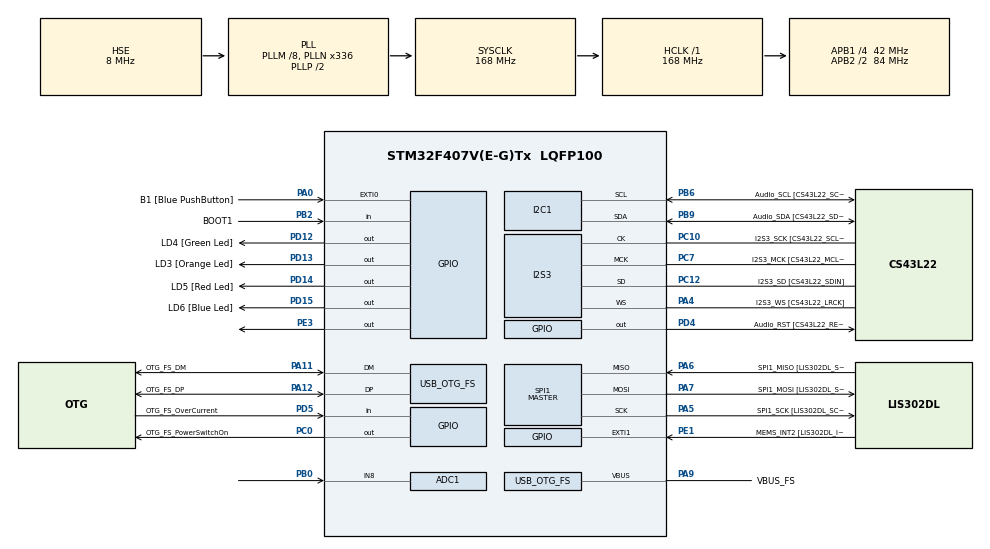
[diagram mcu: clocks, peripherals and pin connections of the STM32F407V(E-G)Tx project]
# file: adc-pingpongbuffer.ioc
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ADC1.Channel-0\#ChannelRegularConversion=ADC_CHANNEL_8
ADC1.Channel-1\#ChannelRegularConversion=ADC_CHANNEL_8
ADC1.DMAContinuousRequests=ENABLE
ADC1.EOCSelection=ADC_EOC_SEQ_CONV
ADC1.ExternalTrigConv=ADC_EXTERNALTRIGCONV_T3_TRGO
ADC1.NbrOfConversion=2
ADC1.NbrOfConversionFlag=1
ADC1.Rank-0\#ChannelRegularConversion=1
ADC1.Rank-1\#ChannelRegularConversion=2
ADC1.SamplingTime-0\#ChannelRegularConversion=ADC_SAMPLETIME_84CYCLES
ADC1.SamplingTime-1\#ChannelRegularConversion=ADC_SAMPLETIME_84CYCLES
ADC1.ScanConvMode=ENABLE
ADC1.master=1
Dma.ADC1.0.Direction=DMA_PERIPH_TO_MEMORY
Dma.ADC1.0.FIFOMode=DMA_FIFOMODE_DISABLE
Dma.ADC1.0.Instance=DMA2_Stream0
Dma.ADC1.0.MemDataAlignment=DMA_MDATAALIGN_HALFWORD
Dma.ADC1.0.MemInc=DMA_MINC_ENABLE
Dma.ADC1.0.Mode=DMA_CIRCULAR
Dma.ADC1.0.PeriphDataAlignment=DMA_PDATAALIGN_HALFWORD
Dma.ADC1.0.PeriphInc=DMA_PINC_DISABLE
Dma.ADC1.0.Priority=DMA_PRIORITY_HIGH
Dma.Request0=ADC1
I2S3.AudioFreq-Half_Duplex_Master=I2S_AUDIOFREQ_96K
I2S3.ErrorAudioFreq=-2.34 %
I2S3.ErrorAudioFreq-Half_Duplex_Master=0.8 %
I2S3.FullDuplexMode=I2S_FULLDUPLEXMODE_DISABLE
I2S3.Instance=SPI$Index
I2S3.RealAudioFreq=93.75 KHz
I2S3.RealAudioFreq-Half_Duplex_Master=96.774 KHz
I2S3.VirtualMode=I2S_MODE_MASTER
Mcu.Family=STM32F4
Mcu.Name=STM32F407V(E-G)Tx
Mcu.Package=LQFP100
NVIC.DMA2_Stream0_IRQn=true\:0\:0\:false\:false\:true\:false\:true\:true
NVIC.OTG_FS_IRQn=true\:0\:0\:false\:false\:true\:true\:true\:true
NVIC.PriorityGroup=NVIC_PRIORITYGROUP_0
PA0-WKUP.GPIO_Label=B1 [Blue PushButton]
PA0-WKUP.GPIO_ModeDefaultEXTI=GPIO_MODE_EVT_RISING
PA0-WKUP.GPIO_PuPd=GPIO_NOPULL
PA0-WKUP.Signal=GPXTI0
PA10.GPIO_Label=OTG_FS_ID
PA10.GPIO_Mode=GPIO_MODE_AF_PP
PA10.GPIO_PuPd=GPIO_NOPULL
PA10.GPIO_Speed=GPIO_SPEED_FREQ_LOW
PA10.Signal=USB_OTG_FS_ID
PA11.GPIO_Label=OTG_FS_DM
PA11.GPIO_Mode=GPIO_MODE_AF_PP
PA11.GPIO_PuPd=GPIO_NOPULL
PA11.GPIO_Speed=GPIO_SPEED_FREQ_LOW
PA11.Mode=Host_Only
PA11.Signal=USB_OTG_FS_DM
PA12.GPIO_Label=OTG_FS_DP
PA12.GPIO_Mode=GPIO_MODE_AF_PP
PA12.GPIO_PuPd=GPIO_NOPULL
PA12.GPIO_Speed=GPIO_SPEED_FREQ_LOW
PA12.Mode=Host_Only
PA12.Signal=USB_OTG_FS_DP
PA13.GPIO_Label=SWDIO
PA13.Mode=Trace_Asynchronous_SW
PA13.Signal=SYS_JTMS-SWDIO
PA14.GPIO_Label=SWCLK
PA14.Mode=Trace_Asynchronous_SW
PA14.Signal=SYS_JTCK-SWCLK
PA4.GPIO_Label=I2S3_WS [CS43L22_LRCK]
PA4.GPIO_Mode=GPIO_MODE_AF_PP
PA4.GPIO_PuPd=GPIO_NOPULL
PA4.GPIO_Speed=GPIO_SPEED_FREQ_LOW
PA4.Mode=Half_Duplex_Master
PA4.Signal=I2S3_WS
PA5.GPIO_Label=SPI1_SCK [LIS302DL_SCL/SPC]
PA5.GPIO_Mode=GPIO_MODE_AF_PP
PA5.GPIO_PuPd=GPIO_NOPULL
PA5.GPIO_Speed=GPIO_SPEED_FREQ_LOW
PA5.Mode=Full_Duplex_Master
PA5.Signal=SPI1_SCK
PA6.GPIO_Label=SPI1_MISO [LIS302DL_SDO]
PA6.GPIO_Mode=GPIO_MODE_AF_PP
PA6.GPIO_PuPd=GPIO_NOPULL
PA6.GPIO_Speed=GPIO_SPEED_FREQ_LOW
PA6.Mode=Full_Duplex_Master
PA6.Signal=SPI1_MISO
PA7.GPIO_Label=SPI1_MOSI [LIS302DL_SDA/SDI/SDO]
PA7.GPIO_Mode=GPIO_MODE_AF_PP
PA7.GPIO_PuPd=GPIO_NOPULL
PA7.GPIO_Speed=GPIO_SPEED_FREQ_LOW
PA7.Mode=Full_Duplex_Master
PA7.Signal=SPI1_MOSI
PA9.GPIO_Label=VBUS_FS
PA9.GPIO_Mode=GPIO_MODE_INPUT
PA9.GPIO_PuPd=GPIO_NOPULL
PA9.Mode=Activate_VBUS
PA9.Signal=USB_OTG_FS_VBUS
PB0.Signal=ADCx_IN8
PB10.GPIO_Label=CLK_IN [MP45DT02_CLK]
PB10.GPIO_Mode=GPIO_MODE_AF_PP
PB10.GPIO_PuPd=GPIO_NOPULL
PB10.GPIO_Speed=GPIO_SPEED_FREQ_LOW
PB10.Signal=I2S2_CK
PB2.GPIO_Label=BOOT1
PB2.GPIO_Mode=GPIO_MODE_INPUT
PB2.GPIO_PuPd=GPIO_NOPULL
PB2.Signal=GPIO_Input
PB3.GPIO_Label=SWO
PB3.Mode=Trace_Asynchronous_SW
PB3.Signal=SYS_JTDO-SWO
PB6.GPIO_Label=Audio_SCL [CS43L22_SCL]
PB6.GPIO_Mode=GPIO_MODE_AF_OD
PB6.GPIO_Pu=GPIO_PULLUP
PB6.GPIO_PuPd=GPIO_NOPULL
PB6.GPIO_Speed=GPIO_SPEED_FREQ_LOW
PB6.Mode=I2C
PB6.Signal=I2C1_SCL
PB9.GPIO_Label=Audio_SDA [CS43L22_SDA]
PB9.GPIO_Mode=GPIO_MODE_AF_OD
PB9.GPIO_Pu=GPIO_PULLUP
PB9.GPIO_PuPd=GPIO_NOPULL
PB9.GPIO_Speed=GPIO_SPEED_FREQ_LOW
PB9.Mode=I2C
PB9.Signal=I2C1_SDA
PC0.GPIO_Label=OTG_FS_PowerSwitchOn
PC0.GPIO_PuPd=GPIO_NOPULL
PC0.GPIO_Speed=GPIO_SPEED_FREQ_LOW
PC0.PinState=GPIO_PIN_SET
PC0.Signal=GPIO_Output
PC10.GPIO_Label=I2S3_SCK [CS43L22_SCLK]
PC10.GPIO_Mode=GPIO_MODE_AF_PP
PC10.GPIO_PuPd=GPIO_NOPULL
PC10.GPIO_Speed=GPIO_SPEED_FREQ_LOW
PC10.Mode=Half_Duplex_Master
PC10.Signal=I2S3_CK
PC12.GPIO_Label=I2S3_SD [CS43L22_SDIN]
PC12.GPIO_Mode=GPIO_MODE_AF_PP
PC12.GPIO_PuPd=GPIO_NOPULL
PC12.GPIO_Speed=GPIO_SPEED_FREQ_LOW
PC12.Mode=Half_Duplex_Master
PC12.Signal=I2S3_SD
PC14-OSC32_IN.GPIO_Label=PC14-OSC32_IN
PC14-OSC32_IN.Mode=LSE-External-Oscillator
PC14-OSC32_IN.Signal=RCC_OSC32_IN
PC15-OSC32_OUT.GPIO_Label=PC15-OSC32_OUT
PC15-OSC32_OUT.Mode=LSE-External-Oscillator
PC15-OSC32_OUT.Signal=RCC_OSC32_OUT
PC3.GPIO_Label=PDM_OUT [MP45DT02_DOUT]
PC3.GPIO_Mode=GPIO_MODE_AF_PP
PC3.GPIO_PuPd=GPIO_NOPULL
PC3.GPIO_Speed=GPIO_SPEED_FREQ_LOW
PC3.Signal=I2S2_SD
PC7.GPIO_Label=I2S3_MCK [CS43L22_MCLK]
PC7.GPIO_Mode=GPIO_MODE_AF_PP
PC7.GPIO_PuPd=GPIO_NOPULL
PC7.GPIO_Speed=GPIO_SPEED_FREQ_LOW
PC7.Mode=Master_Clock_Activated
PC7.Signal=I2S3_MCK
PD12.GPIO_Label=LD4 [Green Led]
PD12.GPIO_PuPd=GPIO_NOPULL
PD12.GPIO_Speed=GPIO_SPEED_FREQ_LOW
PD12.Signal=GPIO_Output
PD13.GPIO_Label=LD3 [Orange Led]
PD13.GPIO_PuPd=GPIO_NOPULL
PD13.GPIO_Speed=GPIO_SPEED_FREQ_LOW
PD13.Signal=GPIO_Output
PD14.GPIO_Label=LD5 [Red Led]
PD14.GPIO_PuPd=GPIO_NOPULL
PD14.GPIO_Speed=GPIO_SPEED_FREQ_LOW
PD14.Signal=GPIO_Output
PD15.GPIO_Label=LD6 [Blue Led]
PD15.GPIO_PuPd=GPIO_NOPULL
PD15.GPIO_Speed=GPIO_SPEED_FREQ_LOW
PD15.Signal=GPIO_Output
PD4.GPIO_Label=Audio_RST [CS43L22_RESET]
PD4.GPIO_PuPd=GPIO_NOPULL
PD4.GPIO_Speed=GPIO_SPEED_FREQ_LOW
PD4.Signal=GPIO_Output
PD5.GPIO_Label=OTG_FS_OverCurrent
PD5.GPIO_Mode=GPIO_MODE_INPUT
PD5.GPIO_PuPd=GPIO_NOPULL
PD5.Signal=GPIO_Input
PE1.GPIO_Label=MEMS_INT2 [LIS302DL_INT2]
PE1.GPIO_ModeDefaultEXTI=GPIO_MODE_EVT_RISING
PE1.GPIO_PuPd=GPIO_NOPULL
PE1.Signal=GPXTI1
PE3.Signal=GPIO_Output
PH0-OSC_IN.GPIO_Label=PH0-OSC_IN
PH0-OSC_IN.Mode=HSE-External-Oscillator
PH0-OSC_IN.Signal=RCC_OSC_IN
PH1-OSC_OUT.GPIO_Label=PH1-OSC_OUT
PH1-OSC_OUT.Mode=HSE-External-Oscillator
PH1-OSC_OUT.Signal=RCC_OSC_OUT
ProjectManager.HeapSize=0x200
ProjectManager.StackSize=0x400
ProjectManager.TargetToolchain=STM32CubeIDE
RCC.48MHZClocksFreq_Value=48000000
RCC.AHBFreq_Value=168000000
RCC.APB1CLKDivider=RCC_HCLK_DIV4
RCC.APB1Freq_Value=42000000
RCC.APB1TimFreq_Value=84000000
RCC.APB2CLKDivider=RCC_HCLK_DIV2
RCC.APB2Freq_Value=84000000
RCC.APB2TimFreq_Value=168000000
RCC.CortexFreq_Value=168000000
RCC.HCLKFreq_Value=168000000
RCC.HSE_VALUE=8000000
RCC.HSI_VALUE=16000000
RCC.PLLM=8
RCC.PLLN=336
RCC.PLLQ=7
RCC.SYSCLKFreq_VALUE=168000000
RCC.SYSCLKSource=RCC_SYSCLKSOURCE_PLLCLK
RCC.VCOOutputFreq_Value=336000000
SH.ADCx_IN8.0=ADC1_IN8,IN8
SPI1.BaudRatePrescaler-Full_Duplex_Master=SPI_BAUDRATEPRESCALER_2
SPI1.CalculateBaudRate-Full_Duplex_Master=42.0 MBits/s
SPI1.Direction=SPI_DIRECTION_2LINES
SPI1.Mode=SPI_MODE_MASTER
SPI1.Mode-Full_Duplex_Master=SPI_MODE_MASTER
SPI1.VirtualType=VM_MASTER
TIM3.AutoReloadPreload=TIM_AUTORELOAD_PRELOAD_ENABLE
TIM3.Period=9999
TIM3.Prescaler=168-1
TIM3.TIM_MasterOutputTrigger=TIM_TRGO_UPDATE
USB_HOST.BSP.number=1
USB_HOST.USBH_HandleTypeDef-CDC_FS=hUsbHostFS
USB_HOST.VirtualModeFS=Cdc
USB_HOST0.BSP.STBoard=false
USB_HOST0.BSP.api=Unknown
USB_HOST0.BSP.instance=PC0
USB_HOST0.BSP.ip=GPIO
USB_HOST0.BSP.mode=Output
USB_HOST0.BSP.name=Drive_VBUS_FS
USB_HOST0.BSP.solution=PC0
USB_OTG_FS.VirtualMode=Host_Only
USB_OTG_FS.phy_itface=HCD_PHY_EMBEDDED
VP_TIM3_VS_ClockSourceINT.Mode=Internal
VP_USB_HOST_VS_USB_HOST_CDC_FS.Mode=CDC_FS
board=STM32F407G-DISC1

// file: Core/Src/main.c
/* USER CODE BEGIN Header */
/**
  ******************************************************************************
  * @file           : main.c
  * @brief          : Main program body
  ******************************************************************************
  * @attention
  *
  * Copyright (c) 2025 STMicroelectronics.
  * All rights reserved.
  *
  * This software is licensed under terms that can be found in the LICENSE file
  * in the root directory of this software component.
  * If no LICENSE file comes with this software, it is provided AS-IS.
  *
  ******************************************************************************
  */
/* USER CODE END Header */
#include "main.h"
#include "usb_host.h"

ADC_HandleTypeDef hadc1;
DMA_HandleTypeDef hdma_adc1;

I2C_HandleTypeDef hi2c1;

I2S_HandleTypeDef hi2s3;

SPI_HandleTypeDef hspi1;

TIM_HandleTypeDef htim3;

void SystemClock_Config(void);
static void MX_GPIO_Init(void);
static void MX_DMA_Init(void);
static void MX_I2C1_Init(void);
static void MX_I2S3_Init(void);
static void MX_SPI1_Init(void);
static void MX_ADC1_Init(void);
static void MX_TIM3_Init(void);
void MX_USB_HOST_Process(void);

/* USER CODE BEGIN PFP */
#define BUFFER_SIZE 	2u
static uint16_t pingPongBuffer[BUFFER_SIZE*2u];
static uint8_t isFirstHalf = 0u;
static uint8_t isDataReady = 0u;
static uint32_t convertedValue = 0u;
static void processAdcData(uint16_t*);
static uint32_t old_tick = 0u;
/* USER CODE END PFP */

int main(void)
{

  /* MCU Configuration--------------------------------------------------------*/

  /* Reset of all peripherals, Initializes the Flash interface and the Systick. */
  HAL_Init();

  /* Configure the system clock */
  SystemClock_Config();

  /* Initialize all configured peripherals */
  MX_GPIO_Init();
  MX_DMA_Init();
  MX_I2C1_Init();
  MX_I2S3_Init();
  MX_SPI1_Init();
  MX_USB_HOST_Init();
  MX_ADC1_Init();
  MX_TIM3_Init();
  /* USER CODE BEGIN 2 */

  HAL_TIM_Base_Start(&htim3);
  HAL_ADC_Start_DMA(&hadc1, (uint32_t*) pingPongBuffer, BUFFER_SIZE*2u);
  /* USER CODE END 2 */

  /* Infinite loop */
  while (1)
  {
    //MX_USB_HOST_Process();

    /* USER CODE BEGIN 3 */
	if(HAL_GetTick() != old_tick)
	{
		old_tick = HAL_GetTick();
	    if(isDataReady)
	    {
	    	uint16_t* activeBuffer = (isFirstHalf==1u)? &pingPongBuffer[0]: &pingPongBuffer[BUFFER_SIZE];
	    	processAdcData(activeBuffer);
	    	isDataReady = 0u;
	    }
	}

  }
  /* USER CODE END 3 */
}

void SystemClock_Config(void)
{
  RCC_OscInitTypeDef RCC_OscInitStruct = {0};
  RCC_ClkInitTypeDef RCC_ClkInitStruct = {0};

  /** Configure the main internal regulator output voltage
  */
  __HAL_RCC_PWR_CLK_ENABLE();
  __HAL_PWR_VOLTAGESCALING_CONFIG(PWR_REGULATOR_VOLTAGE_SCALE1);

  /** Initializes the RCC Oscillators according to the specified parameters
  * in the RCC_OscInitTypeDef structure.
  */
  RCC_OscInitStruct.OscillatorType = RCC_OSCILLATORTYPE_HSE;
  RCC_OscInitStruct.HSEState = RCC_HSE_ON;
  RCC_OscInitStruct.PLL.PLLState = RCC_PLL_ON;
  RCC_OscInitStruct.PLL.PLLSource = RCC_PLLSOURCE_HSE;
  RCC_OscInitStruct.PLL.PLLM = 8;
  RCC_OscInitStruct.PLL.PLLN = 336;
  RCC_OscInitStruct.PLL.PLLP = RCC_PLLP_DIV2;
  RCC_OscInitStruct.PLL.PLLQ = 7;
  if (HAL_RCC_OscConfig(&RCC_OscInitStruct) != HAL_OK)
  {
    Error_Handler();
  }

  /** Initializes the CPU, AHB and APB buses clocks
  */
  RCC_ClkInitStruct.ClockType = RCC_CLOCKTYPE_HCLK|RCC_CLOCKTYPE_SYSCLK
                              |RCC_CLOCKTYPE_PCLK1|RCC_CLOCKTYPE_PCLK2;
  RCC_ClkInitStruct.SYSCLKSource = RCC_SYSCLKSOURCE_PLLCLK;
  RCC_ClkInitStruct.AHBCLKDivider = RCC_SYSCLK_DIV1;
  RCC_ClkInitStruct.APB1CLKDivider = RCC_HCLK_DIV4;
  RCC_ClkInitStruct.APB2CLKDivider = RCC_HCLK_DIV2;

  if (HAL_RCC_ClockConfig(&RCC_ClkInitStruct, FLASH_LATENCY_5) != HAL_OK)
  {
    Error_Handler();
  }
}

static void MX_ADC1_Init(void)
{

  ADC_ChannelConfTypeDef sConfig = {0};

  /** Configure the global features of the ADC (Clock, Resolution, Data Alignment and number of conversion)
  */
  hadc1.Instance = ADC1;
  hadc1.Init.ClockPrescaler = ADC_CLOCK_SYNC_PCLK_DIV4;
  hadc1.Init.Resolution = ADC_RESOLUTION_12B;
  hadc1.Init.ScanConvMode = ENABLE;
  hadc1.Init.ContinuousConvMode = DISABLE;
  hadc1.Init.DiscontinuousConvMode = DISABLE;
  hadc1.Init.ExternalTrigConvEdge = ADC_EXTERNALTRIGCONVEDGE_RISING;
  hadc1.Init.ExternalTrigConv = ADC_EXTERNALTRIGCONV_T3_TRGO;
  hadc1.Init.DataAlign = ADC_DATAALIGN_RIGHT;
  hadc1.Init.NbrOfConversion = 2;
  hadc1.Init.DMAContinuousRequests = ENABLE;
  hadc1.Init.EOCSelection = ADC_EOC_SEQ_CONV;
  if (HAL_ADC_Init(&hadc1) != HAL_OK)
  {
    Error_Handler();
  }

  /** Configure for the selected ADC regular channel its corresponding rank in the sequencer and its sample time.
  */
  sConfig.Channel = ADC_CHANNEL_8;
  sConfig.Rank = 1;
  sConfig.SamplingTime = ADC_SAMPLETIME_84CYCLES;
  if (HAL_ADC_ConfigChannel(&hadc1, &sConfig) != HAL_OK)
  {
    Error_Handler();
  }

  /** Configure for the selected ADC regular channel its corresponding rank in the sequencer and its sample time.
  */
  sConfig.Rank = 2;
  if (HAL_ADC_ConfigChannel(&hadc1, &sConfig) != HAL_OK)
  {
    Error_Handler();
  }

}

static void MX_I2C1_Init(void)
{

  hi2c1.Instance = I2C1;
  hi2c1.Init.ClockSpeed = 100000;
  hi2c1.Init.DutyCycle = I2C_DUTYCYCLE_2;
  hi2c1.Init.OwnAddress1 = 0;
  hi2c1.Init.AddressingMode = I2C_ADDRESSINGMODE_7BIT;
  hi2c1.Init.DualAddressMode = I2C_DUALADDRESS_DISABLE;
  hi2c1.Init.OwnAddress2 = 0;
  hi2c1.Init.GeneralCallMode = I2C_GENERALCALL_DISABLE;
  hi2c1.Init.NoStretchMode = I2C_NOSTRETCH_DISABLE;
  if (HAL_I2C_Init(&hi2c1) != HAL_OK)
  {
    Error_Handler();
  }

}

static void MX_I2S3_Init(void)
{

  hi2s3.Instance = SPI3;
  hi2s3.Init.Mode = I2S_MODE_MASTER_TX;
  hi2s3.Init.Standard = I2S_STANDARD_PHILIPS;
  hi2s3.Init.DataFormat = I2S_DATAFORMAT_16B;
  hi2s3.Init.MCLKOutput = I2S_MCLKOUTPUT_ENABLE;
  hi2s3.Init.AudioFreq = I2S_AUDIOFREQ_96K;
  hi2s3.Init.CPOL = I2S_CPOL_LOW;
  hi2s3.Init.ClockSource = I2S_CLOCK_PLL;
  hi2s3.Init.FullDuplexMode = I2S_FULLDUPLEXMODE_DISABLE;
  if (HAL_I2S_Init(&hi2s3) != HAL_OK)
  {
    Error_Handler();
  }

}

static void MX_SPI1_Init(void)
{

  /* SPI1 parameter configuration*/
  hspi1.Instance = SPI1;
  hspi1.Init.Mode = SPI_MODE_MASTER;
  hspi1.Init.Direction = SPI_DIRECTION_2LINES;
  hspi1.Init.DataSize = SPI_DATASIZE_8BIT;
  hspi1.Init.CLKPolarity = SPI_POLARITY_LOW;
  hspi1.Init.CLKPhase = SPI_PHASE_1EDGE;
  hspi1.Init.NSS = SPI_NSS_SOFT;
  hspi1.Init.BaudRatePrescaler = SPI_BAUDRATEPRESCALER_2;
  hspi1.Init.FirstBit = SPI_FIRSTBIT_MSB;
  hspi1.Init.TIMode = SPI_TIMODE_DISABLE;
  hspi1.Init.CRCCalculation = SPI_CRCCALCULATION_DISABLE;
  hspi1.Init.CRCPolynomial = 10;
  if (HAL_SPI_Init(&hspi1) != HAL_OK)
  {
    Error_Handler();
  }

}

static void MX_TIM3_Init(void)
{

  TIM_ClockConfigTypeDef sClockSourceConfig = {0};
  TIM_MasterConfigTypeDef sMasterConfig = {0};

  htim3.Instance = TIM3;
  htim3.Init.Prescaler = 168-1;
  htim3.Init.CounterMode = TIM_COUNTERMODE_UP;
  htim3.Init.Period = 9999;
  htim3.Init.ClockDivision = TIM_CLOCKDIVISION_DIV1;
  htim3.Init.AutoReloadPreload = TIM_AUTORELOAD_PRELOAD_ENABLE;
  if (HAL_TIM_Base_Init(&htim3) != HAL_OK)
  {
    Error_Handler();
  }
  sClockSourceConfig.ClockSource = TIM_CLOCKSOURCE_INTERNAL;
  if (HAL_TIM_ConfigClockSource(&htim3, &sClockSourceConfig) != HAL_OK)
  {
    Error_Handler();
  }
  sMasterConfig.MasterOutputTrigger = TIM_TRGO_UPDATE;
  sMasterConfig.MasterSlaveMode = TIM_MASTERSLAVEMODE_DISABLE;
  if (HAL_TIMEx_MasterConfigSynchronization(&htim3, &sMasterConfig) != HAL_OK)
  {
    Error_Handler();
  }

}

static void MX_DMA_Init(void)
{

  /* DMA controller clock enable */
  __HAL_RCC_DMA2_CLK_ENABLE();

  /* DMA interrupt init */
  /* DMA2_Stream0_IRQn interrupt configuration */
  HAL_NVIC_SetPriority(DMA2_Stream0_IRQn, 0, 0);
  HAL_NVIC_EnableIRQ(DMA2_Stream0_IRQn);

}

static void MX_GPIO_Init(void)
{
  GPIO_InitTypeDef GPIO_InitStruct = {0};

  /* GPIO Ports Clock Enable */
  __HAL_RCC_GPIOE_CLK_ENABLE();
  __HAL_RCC_GPIOC_CLK_ENABLE();
  __HAL_RCC_GPIOH_CLK_ENABLE();
  __HAL_RCC_GPIOA_CLK_ENABLE();
  __HAL_RCC_GPIOB_CLK_ENABLE();
  __HAL_RCC_GPIOD_CLK_ENABLE();

  /*Configure GPIO pin Output Level */
  HAL_GPIO_WritePin(GPIOE, GPIO_PIN_3, GPIO_PIN_RESET);

  /*Configure GPIO pin Output Level */
  HAL_GPIO_WritePin(OTG_FS_PowerSwitchOn_GPIO_Port, OTG_FS_PowerSwitchOn_Pin, GPIO_PIN_SET);

  /*Configure GPIO pin Output Level */
  HAL_GPIO_WritePin(GPIOD, LD4_Pin|LD3_Pin|LD5_Pin|LD6_Pin
                          |Audio_RST_Pin, GPIO_PIN_RESET);

  /*Configure GPIO pin : PE3 */
  GPIO_InitStruct.Pin = GPIO_PIN_3;
  GPIO_InitStruct.Mode = GPIO_MODE_OUTPUT_PP;
  GPIO_InitStruct.Pull = GPIO_NOPULL;
  GPIO_InitStruct.Speed = GPIO_SPEED_FREQ_LOW;
  HAL_GPIO_Init(GPIOE, &GPIO_InitStruct);

  /*Configure GPIO pin : OTG_FS_PowerSwitchOn_Pin */
  GPIO_InitStruct.Pin = OTG_FS_PowerSwitchOn_Pin;
  GPIO_InitStruct.Mode = GPIO_MODE_OUTPUT_PP;
  GPIO_InitStruct.Pull = GPIO_NOPULL;
  GPIO_InitStruct.Speed = GPIO_SPEED_FREQ_LOW;
  HAL_GPIO_Init(OTG_FS_PowerSwitchOn_GPIO_Port, &GPIO_InitStruct);

  /*Configure GPIO pin : PDM_OUT_Pin */
  GPIO_InitStruct.Pin = PDM_OUT_Pin;
  GPIO_InitStruct.Mode = GPIO_MODE_AF_PP;
  GPIO_InitStruct.Pull = GPIO_NOPULL;
  GPIO_InitStruct.Speed = GPIO_SPEED_FREQ_LOW;
  GPIO_InitStruct.Alternate = GPIO_AF5_SPI2;
  HAL_GPIO_Init(PDM_OUT_GPIO_Port, &GPIO_InitStruct);

  /*Configure GPIO pin : B1_Pin */
  GPIO_InitStruct.Pin = B1_Pin;
  GPIO_InitStruct.Mode = GPIO_MODE_EVT_RISING;
  GPIO_InitStruct.Pull = GPIO_NOPULL;
  HAL_GPIO_Init(B1_GPIO_Port, &GPIO_InitStruct);

  /*Configure GPIO pin : BOOT1_Pin */
  GPIO_InitStruct.Pin = BOOT1_Pin;
  GPIO_InitStruct.Mode = GPIO_MODE_INPUT;
  GPIO_InitStruct.Pull = GPIO_NOPULL;
  HAL_GPIO_Init(BOOT1_GPIO_Port, &GPIO_InitStruct);

  /*Configure GPIO pin : CLK_IN_Pin */
  GPIO_InitStruct.Pin = CLK_IN_Pin;
  GPIO_InitStruct.Mode = GPIO_MODE_AF_PP;
  GPIO_InitStruct.Pull = GPIO_NOPULL;
  GPIO_InitStruct.Speed = GPIO_SPEED_FREQ_LOW;
  GPIO_InitStruct.Alternate = GPIO_AF5_SPI2;
  HAL_GPIO_Init(CLK_IN_GPIO_Port, &GPIO_InitStruct);

  /*Configure GPIO pins : LD4_Pin LD3_Pin LD5_Pin LD6_Pin
                           Audio_RST_Pin */
  GPIO_InitStruct.Pin = LD4_Pin|LD3_Pin|LD5_Pin|LD6_Pin
                          |Audio_RST_Pin;
  GPIO_InitStruct.Mode = GPIO_MODE_OUTPUT_PP;
  GPIO_InitStruct.Pull = GPIO_NOPULL;
  GPIO_InitStruct.Speed = GPIO_SPEED_FREQ_LOW;
  HAL_GPIO_Init(GPIOD, &GPIO_InitStruct);

  /*Configure GPIO pin : OTG_FS_OverCurrent_Pin */
  GPIO_InitStruct.Pin = OTG_FS_OverCurrent_Pin;
  GPIO_InitStruct.Mode = GPIO_MODE_INPUT;
  GPIO_InitStruct.Pull = GPIO_NOPULL;
  HAL_GPIO_Init(OTG_FS_OverCurrent_GPIO_Port, &GPIO_InitStruct);

  /*Configure GPIO pin : MEMS_INT2_Pin */
  GPIO_InitStruct.Pin = MEMS_INT2_Pin;
  GPIO_InitStruct.Mode = GPIO_MODE_EVT_RISING;
  GPIO_InitStruct.Pull = GPIO_NOPULL;
  HAL_GPIO_Init(MEMS_INT2_GPIO_Port, &GPIO_InitStruct);

}

/* USER CODE BEGIN 4 */
void HAL_ADC_ConvCpltCallback(ADC_HandleTypeDef *hadc)
{
	if(ADC1 == hadc->Instance)
	{
		isDataReady = 1u;
		isFirstHalf = 0u;
	}
}
void HAL_ADC_ConvHalfCpltCallback(ADC_HandleTypeDef *hadc)
{
	if(ADC1 == hadc->Instance)
	{
		isDataReady = 1u;
		isFirstHalf = 1u;
	}
}
static void processAdcData(uint16_t* inPtr)
{
	convertedValue = (uint32_t)((inPtr[0]+inPtr[1])>>1);
}
/* USER CODE END 4 */

void Error_Handler(void)
{
  __disable_irq();
  while (1)
  {
  }
}
